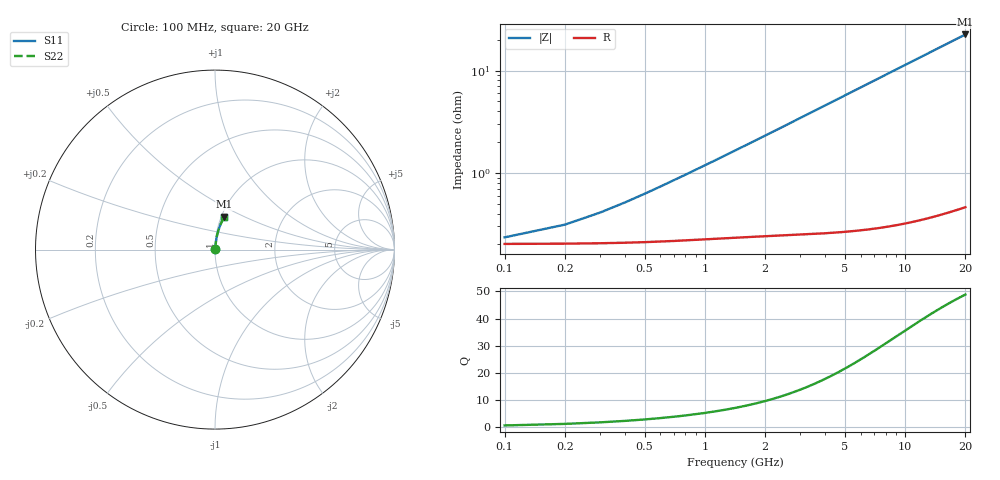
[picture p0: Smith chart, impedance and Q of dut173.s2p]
! Touchstone file exported from HFSS 2026.1.0
!  File:  C:/ffzhzh/LocalFiles/Ansys_Project_Files/temp_train_BSMRDL_173_1782987046_42984.aedt
!  Generated:  06:12:08 PM Jul  2, 2026
!  Design:  BSMRDL
!  Project:  temp_train_BSMRDL_173_1782987046_42984
! Variables:
!  h_bsmrdl = 2.14um
!  h_ox = 20um
!  h_rdl = 5um
!  h_sub = 80um
!  h_tmrdl = 5um
!  h_tsv = 80um
!  h_via = 3um
!  l_bsmrdl = 133.44um
!  l_sub = 533.44um
!  l_tmrdl = 200um
!  m_sub = 200um
!  pitch = 47.62um
!  r_tsv = 6um
!  s_tmrdl = 10um
!  w_bsmrdl = 13.04um
!  w_sub = 500um
!  w_tmrdl = 12um
!  x_tsv_center1 = 206um
!  x_tsv_center2 = 352.48um
!  x_tsv_center3 = 564.48um
!  x_tsv_center4 = 710.96um
!  x_tsv_center5 = 922.96um
!  x_tsv_center6 = 1069.44um
# GHz S MA R 50.000000
! Terminal data exported
! Port[1] = BSM_RDL1_1_T1
! Port[2] = BSM_RDL1_1_T2
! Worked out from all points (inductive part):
!   200 points, 100 MHz to 20 GHz, reference 50 ohm
!   read as one part in series: L = 186 pH near 600 MHz
!   highest Q = 48.8 at 20 GHz (marker M1), where L = 179 pH
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0.1  0.002259 26.9  0.998 -0.1  0.998 -0.1  0.002259 26.9
! Gamma 0 0 0 0
! Port Impedance 50 0 50 0
0.3  0.003684 56.1  0.998 -0.2  0.998 -0.2  0.003684 56.1
0.4  0.004572 62.8  0.9979 -0.3  0.9979 -0.3  0.004572 62.8
0.5  0.005499 67.2  0.9979 -0.4  0.9979 -0.4  0.005499 67.2
0.6  0.006444 70.3  0.9979 -0.5  0.9979 -0.5  0.006444 70.3
0.7  0.007399 72.6  0.9978 -0.5  0.9978 -0.5  0.007399 72.6
0.9  0.009321 75.6  0.9978 -0.7  0.9978 -0.7  0.009321 75.6
1.2  0.01221 78.4  0.9977 -0.9  0.9977 -0.9  0.01221 78.4
1.4  0.01414 79.5  0.9976 -1.0  0.9976 -1.0  0.01414 79.5
1.7  0.01705 80.8  0.9975 -1.3  0.9975 -1.3  0.01705 80.8
2.2  0.02189 82.0  0.9974 -1.6  0.9974 -1.6  0.02189 82.0
2.8  0.02772 82.8  0.9972 -2.1  0.9972 -2.1  0.02772 82.8
3.5  0.03453 83.2  0.9969 -2.6  0.9969 -2.6  0.03453 83.2
4.2  0.04134 83.3  0.9966 -3.1  0.9966 -3.1  0.04134 83.3
5  0.04912 83.2  0.9962 -3.7  0.9962 -3.7  0.04912 83.2
5.9  0.05785 82.9  0.9956 -4.4  0.9956 -4.4  0.05785 82.9
6.8  0.06657 82.6  0.995 -5.0  0.995 -5.0  0.06657 82.6
8.3  0.08102 81.8  0.9937 -6.1  0.9937 -6.1  0.08102 81.8
10.1  0.09825 80.7  0.992 -7.4  0.992 -7.4  0.09825 80.7
13.4  0.1294 78.6  0.988 -9.8  0.988 -9.8  0.1294 78.6
16.7  0.16 76.4  0.9831 -12.2  0.9831 -12.2  0.16 76.4
20  0.1898 74.1  0.9773 -14.5  0.9773 -14.5  0.1898 74.1
